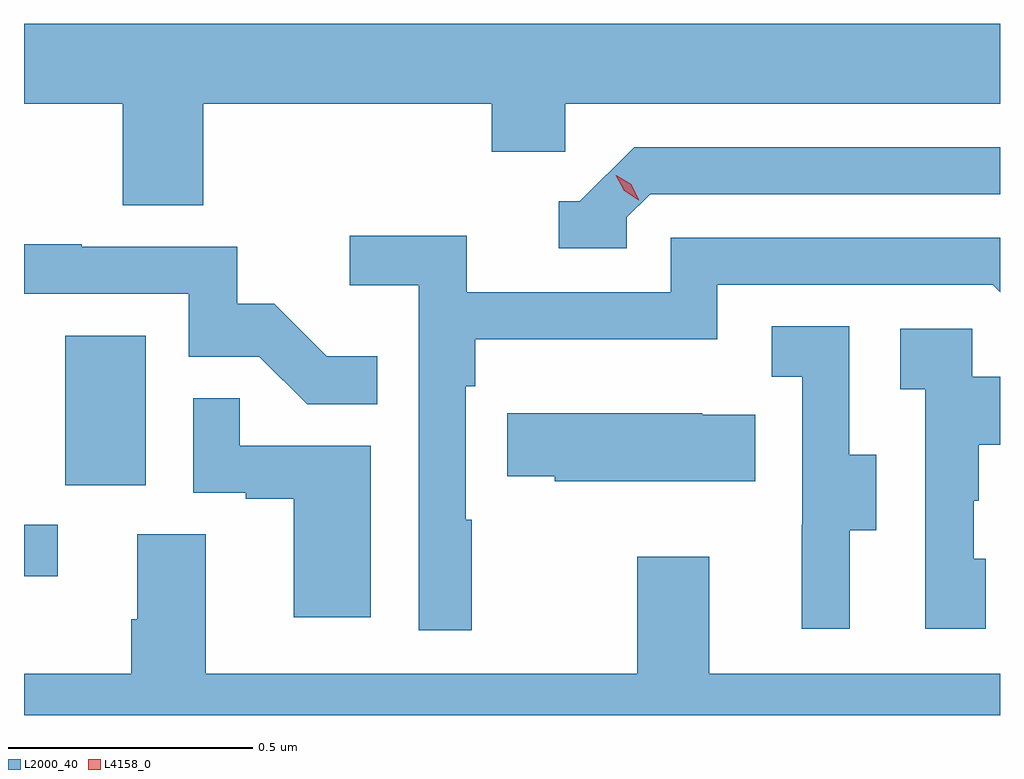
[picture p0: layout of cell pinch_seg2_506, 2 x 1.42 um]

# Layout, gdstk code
import gdstk
lib = gdstk.Library(unit=1e-6, precision=1e-09)
def R(c, l, rs):  # rectangles x0, y0, x1, y1
    for r in rs: c.add(gdstk.rectangle(r[:2], r[2:], *l))
def P(c, l, *ps):  # polygons
    for p in ps: c.add(gdstk.Polygon(p, *l))
L2000_40 = (2000, 40)
L4158_0 = (4158, 0)

pinch_seg2_506 = lib.new_cell('pinch_seg2_506')
R(pinch_seg2_506, L2000_40, [(983.305,590.724,983.374,590.829), (983.39,590.91,983.554,591.217)])
P(pinch_seg2_506, L2000_40, [(983.672,591.692),(984.263,591.692),(984.263,591.594),(984.414,591.594),(984.414,591.692),(985.305,591.692),(985.305,591.856),(983.305,591.856),(983.305,591.692),(983.507,591.692),(983.507,591.484),(983.672,591.484)],
  [(984.54,591.459),(984.588,591.507),(985.305,591.507),(985.305,591.603),(984.555,591.603),(984.444,591.492),(984.401,591.492),(984.401,591.396),(984.54,591.396)],
  [(984.223,590.84),(984.21,590.84),(984.21,591.113),(984.23,591.113),(984.23,591.209),(984.726,591.209),(984.726,591.321),(985.29,591.321),(985.305,591.306),(985.305,591.417),(984.63,591.417),(984.63,591.306),(984.212,591.306),(984.212,591.422),(983.973,591.422),(983.973,591.32),(984.114,591.32),(984.114,590.613),(984.223,590.613)],
  [(984.029,591.175),(983.925,591.175),(983.818,591.282),(983.742,591.282),(983.742,591.399),(983.423,591.399),(983.423,591.404),(983.305,591.404),(983.305,591.303),(983.643,591.303),(983.643,591.174),(983.787,591.174),(983.885,591.076),(984.029,591.076)],
  [(984.997,590.818),(985.051,590.818),(985.051,590.973),(984.996,590.973),(984.996,591.236),(984.837,591.236),(984.837,591.133),(984.9,591.133),(984.9,590.829),(984.899,590.829),(984.899,590.616),(984.997,590.616)],
  [(985.276,590.76),(985.251,590.76),(985.251,590.879),(985.261,590.879),(985.261,590.993),(985.305,590.993),(985.305,591.133),(985.248,591.133),(985.248,591.231),(985.101,591.231),(985.101,591.107),(985.152,591.107),(985.152,590.616),(985.276,590.616)],
  [(984.016,590.991),(983.747,590.991),(983.747,591.089),(983.652,591.089),(983.652,590.895),(983.759,590.895),(983.759,590.883),(983.858,590.883),(983.858,590.64),(984.016,590.64)],
  [(984.803,591.055),(984.695,591.055),(984.695,591.058),(984.295,591.058),(984.295,590.929),(984.393,590.929),(984.393,590.918),(984.803,590.918)],
  [(985.305,590.524),(984.709,590.524),(984.709,590.764),(984.562,590.764),(984.562,590.524),(983.677,590.524),(983.677,590.81),(983.537,590.81),(983.537,590.636),(983.525,590.636),(983.525,590.524),(983.305,590.524),(983.305,590.439),(985.305,590.439)])
P(pinch_seg2_506, L4158_0, [(984.565,591.494),(984.535,591.514),(984.518,591.546),(984.518,591.546),(984.519,591.546),(984.549,591.527),(984.565,591.495),(984.565,591.494)])

lib.write_gds('pinch_seg2_506.gds')
